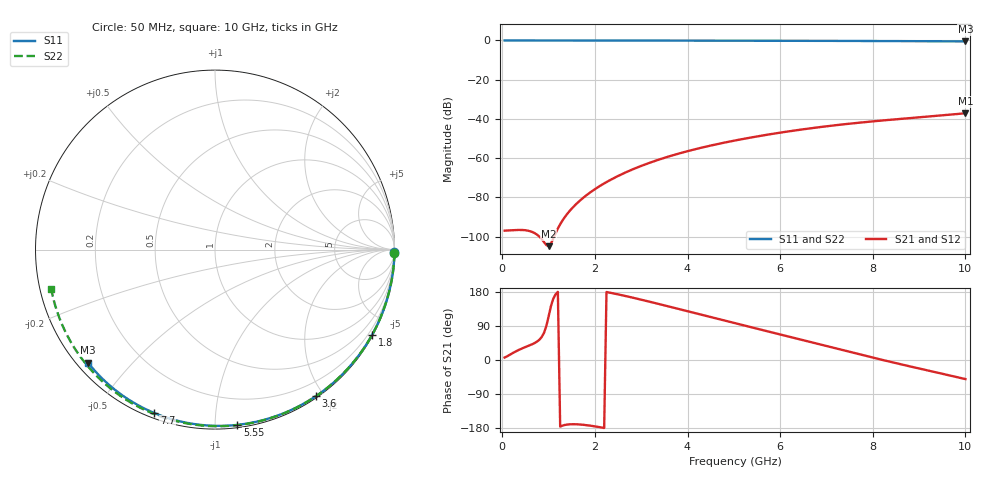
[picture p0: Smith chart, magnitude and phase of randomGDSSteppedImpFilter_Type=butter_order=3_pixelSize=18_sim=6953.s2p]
! freq	dB(S11)	phase(S11)	dB(S12)	phase(S12)
!  dB(S21)	phase(S21)	dB(S22)	phase(S22)
!S-par simulation data
#  GHz  S  DB  R 50
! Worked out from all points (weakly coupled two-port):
!   200 points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, 50 MHz to 10 GHz, reference 50 ohm
!   highest |S21| = -37.07 dB at 10 GHz (marker M1); lowest = -104.8 dB at 1 GHz (marker M2)
!   lowest |S11| = -0.5 dB at 10 GHz (marker M3), VSWR 36.94, Z = 1.55 - j19 ohm
!   |S11| at or under -10 dB: nowhere
!   |S22| runs from -0.6 to 0.0 dB; largest |S21 - S12| = 0
!   S11 on the Smith chart (normalised r, x): 50 MHz: open; 1.8 GHz: 0.03, -3.95; 3.6 GHz: 0.02, -1.90; 5.55 GHz: 0.02, -1.14; 7.7 GHz: 0.02, -0.69; 10 GHz: 0.03, -0.38
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0.05  -0.00 -0.8  -96.90 6.5  -96.90 6.5  -0.00 -1.0
0.5  -0.01 -8.0  -96.70 34.2  -96.70 34.2  -0.01 -9.6
1  -0.02 -15.9  -104.81 114.7  -104.81 114.7  -0.02 -19.1
1.75  -0.04 -27.6  -80.11 -171.0  -80.11 -171.0  -0.04 -33.1
1.8  -0.04 -28.4  -79.17 -171.7  -79.17 -171.7  -0.04 -34.1
1.95  -0.04 -30.7  -76.57 -174.2  -76.57 -174.2  -0.05 -36.8
2.1  -0.04 -33.0  -74.25 -177.2  -74.25 -177.2  -0.05 -39.6
2.3  -0.05 -36.1  -71.50 178.2  -71.50 178.2  -0.06 -43.2
2.5  -0.05 -39.1  -69.05 173.2  -69.05 173.2  -0.06 -46.9
2.9  -0.06 -45.1  -64.85 162.1  -64.85 162.1  -0.07 -54.0
3.4  -0.07 -52.5  -60.56 147.2  -60.56 147.2  -0.08 -62.8
3.6  -0.07 -55.4  -59.07 141.1  -59.07 141.1  -0.09 -66.2
4.25  -0.09 -64.8  -54.92 121.0  -54.92 121.0  -0.11 -77.3
4.65  -0.10 -70.4  -52.77 108.6  -52.77 108.6  -0.12 -83.9
5.05  -0.12 -75.9  -50.85 96.4  -50.85 96.4  -0.14 -90.4
5.55  -0.14 -82.7  -48.70 81.1  -48.70 81.1  -0.16 -98.4
6.1  -0.16 -90.0  -46.61 64.3  -46.61 64.3  -0.19 -107.0
6.7  -0.19 -97.8  -44.62 45.9  -44.62 45.9  -0.23 -116.2
7.7  -0.25 -110.4  -41.91 15.3  -41.91 15.3  -0.30 -131.3
8.35  -0.31 -118.4  -40.47 -3.9  -40.47 -3.9  -0.37 -141.1
9.2  -0.38 -128.7  -38.77 -28.0  -38.77 -28.0  -0.46 -153.9
10  -0.47 -138.4  -37.07 -50.3  -37.07 -50.3  -0.55 -166.3
